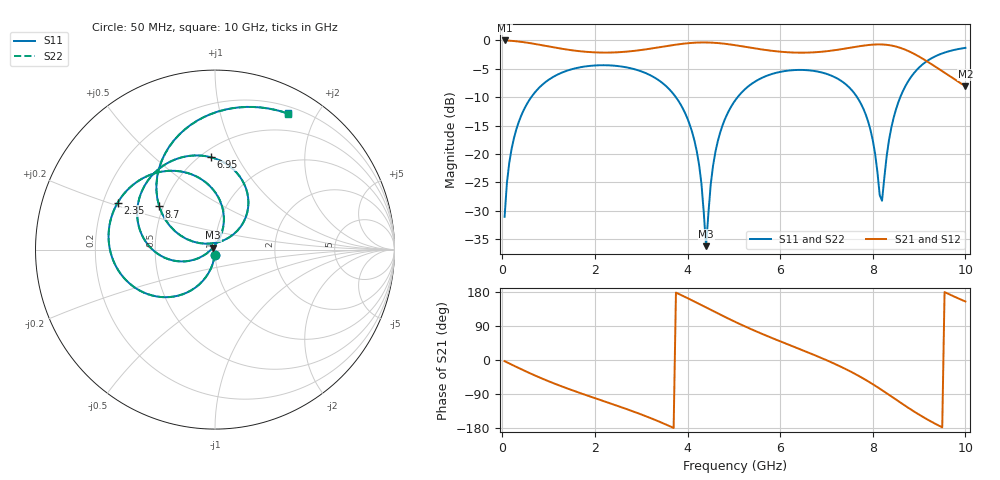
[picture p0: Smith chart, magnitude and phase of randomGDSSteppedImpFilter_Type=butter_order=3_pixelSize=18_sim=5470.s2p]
! freq	dB(S11)	phase(S11)	dB(S12)	phase(S12)
!  dB(S21)	phase(S21)	dB(S22)	phase(S22)
!S-par simulation data
#  GHz  S  DB  R 50
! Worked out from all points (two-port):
!   200 points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, 50 MHz to 10 GHz, reference 50 ohm
!   highest |S21| = -0.01 dB at 50 MHz (marker M1); lowest = -8.1 dB at 10 GHz (marker M2)
!   |S21| within 3 dB of the highest: start of sweep to 9.034 GHz
!   lowest |S11| = -36.2 dB at 4.4 GHz (marker M3), VSWR 1.03, Z = 48.9 + j1.04 ohm
!   |S11| at or under -10 dB: start of sweep to 625.2 MHz; 3.749 GHz to 5.081 GHz (1.332 GHz wide, 30.2 % of centre); 7.662 GHz to 8.594 GHz (931.9 MHz wide, 11.5 % of centre)
!   |S22| runs from -36.6 to -1.3 dB; largest |S21 - S12| = 0
!   S11 on the Smith chart (normalised r, x): 50 MHz: 1.00, -0.06; 2.35 GHz: 0.26, +0.21; 6.95 GHz: 0.56, +0.78; 8.7 GHz: 0.48, +0.27; 10 GHz: 0.28, +1.63
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0.05  -31.06 -93.1  -0.01 -3.1  -0.01 -3.1  -31.06 -93.1
0.2  -19.14 -102.6  -0.07 -12.1  -0.07 -12.1  -19.14 -102.6
0.5  -11.66 -120.1  -0.35 -29.5  -0.35 -29.5  -11.66 -120.1
1.05  -6.66 -149.0  -1.13 -58.5  -1.13 -58.5  -6.66 -149.1
1.75  -4.63 179.4  -1.96 -90.2  -1.96 -90.2  -4.63 179.4
2.35  -4.41 154.4  -2.13 -115.2  -2.13 -115.2  -4.41 154.4
3.4  -7.14 107.4  -1.19 -163.2  -1.19 -163.2  -7.14 107.3
4.1  -16.15 71.9  -0.43 157.2  -0.43 157.2  -16.15 71.6
4.3  -25.21 70.3  -0.36 145.0  -0.36 145.0  -25.24 69.6
4.4  -36.23 136.2  -0.36 138.7  -0.36 138.7  -36.64 136.1
4.5  -25.43 -154.9  -0.38 132.5  -0.38 132.5  -25.46 -154.1
4.6  -19.72 -152.8  -0.43 126.4  -0.43 126.4  -19.73 -152.4
5.05  -10.32 -173.7  -0.86 99.4  -0.86 99.4  -10.32 -173.6
5.8  -5.97 148.0  -1.81 59.2  -1.81 59.2  -5.97 148.0
6.7  -5.34 105.1  -2.11 15.0  -2.11 15.0  -5.34 105.1
6.95  -5.76 92.7  -1.95 2.2  -1.95 2.2  -5.76 92.7
7.8  -12.08 46.4  -0.91 -49.1  -0.91 -49.1  -12.08 46.4
8.2  -28.23 117.5  -0.71 -79.6  -0.71 -79.6  -28.17 117.4
8.35  -17.57 160.1  -0.82 -91.9  -0.82 -91.9  -17.56 159.9
8.7  -8.12 142.3  -1.63 -120.8  -1.63 -120.8  -8.11 142.2
9.4  -2.61 94.9  -4.88 -171.5  -4.88 -171.5  -2.61 94.7
10  -1.31 61.9  -8.08 154.5  -8.08 154.5  -1.31 61.8
